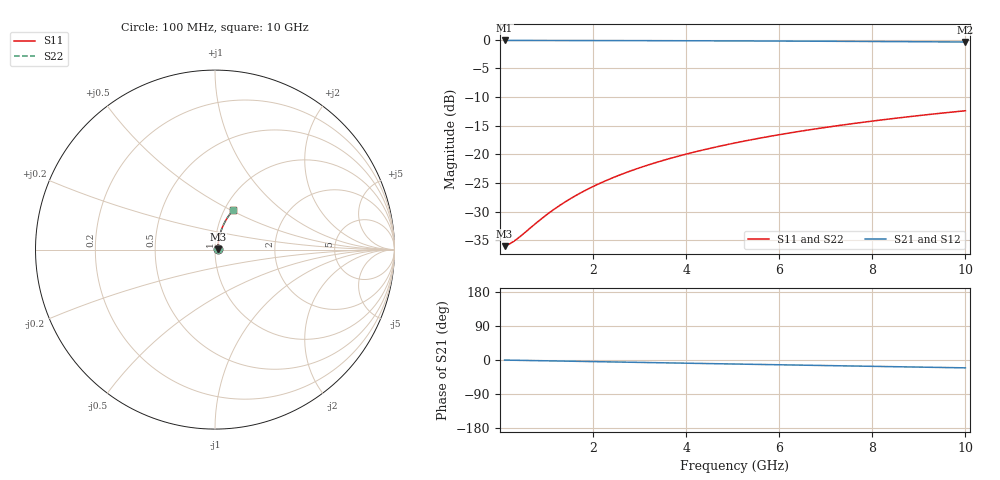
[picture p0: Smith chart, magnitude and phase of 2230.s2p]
# Hz S RI R 50.00
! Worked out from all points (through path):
!   100 points, 100 MHz to 10 GHz, reference 50 ohm
!   highest |S21| = -0.14 dB at 100 MHz (marker M1); lowest = -0.4 dB at 10 GHz (marker M2)
!   group delay of S21, straight-line fit = 5.77 ps
!   lowest |S11| = -36.0 dB at 100 MHz (marker M3), VSWR 1.03, Z = 51.6 + j0.252 ohm
!   |S11| at or under -10 dB: start of sweep to end of sweep
!   |S22| runs from -36.0 to -12.4 dB; largest |S21 - S12| = 0
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1e8  0.0157 0.00244  0.9843 -0.00363  0.9843 -0.00363  0.0157 0.00244
2e8  0.0158 0.00488  0.9842 -0.00726  0.9842 -0.00726  0.0158 0.00488
3e8  0.0159 0.00732  0.9841 -0.0109  0.9841 -0.0109  0.0159 0.00732
4e8  0.016 0.00976  0.9839 -0.0145  0.9839 -0.0145  0.016 0.00976
9e8  0.0168 0.0219  0.9831 -0.0326  0.9831 -0.0326  0.0168 0.0219
1.2e9  0.0175 0.0292  0.9824 -0.0435  0.9824 -0.0435  0.0175 0.0292
1.5e9  0.0183 0.0365  0.9815 -0.0543  0.9815 -0.0543  0.0183 0.0365
1.8e9  0.0192 0.0437  0.9805 -0.0651  0.9805 -0.0651  0.0192 0.0437
2.1e9  0.0203 0.0509  0.9793 -0.0759  0.9793 -0.0759  0.0203 0.0509
2.5e9  0.0221 0.0605  0.9775 -0.0902  0.9775 -0.0902  0.0221 0.0605
2.9e9  0.024 0.07  0.9753 -0.1045  0.9753 -0.1045  0.024 0.07
3.4e9  0.0269 0.0818  0.9722 -0.1222  0.9722 -0.1222  0.0269 0.0818
3.8e9  0.0295 0.0911  0.9694 -0.1363  0.9694 -0.1363  0.0295 0.0911
4.2e9  0.0324 0.1003  0.9663 -0.1503  0.9663 -0.1503  0.0324 0.1003
4.6e9  0.0355 0.1094  0.963 -0.1642  0.963 -0.1642  0.0355 0.1094
5.1e9  0.0397 0.1206  0.9584 -0.1814  0.9584 -0.1814  0.0397 0.1206
5.9e9  0.0473 0.1382  0.9501 -0.2085  0.9501 -0.2085  0.0473 0.1382
6.7e9  0.0559 0.1552  0.9408 -0.2351  0.9408 -0.2351  0.0559 0.1552
7.5e9  0.0654 0.1716  0.9305 -0.261  0.9305 -0.261  0.0654 0.1716
8.4e9  0.0771 0.1892  0.9178 -0.2894  0.9178 -0.2894  0.0771 0.1892
9.2e9  0.0883 0.2041  0.9055 -0.3139  0.9055 -0.3139  0.0883 0.2041
1e10  0.1002 0.2182  0.8925 -0.3377  0.8925 -0.3377  0.1002 0.2182
